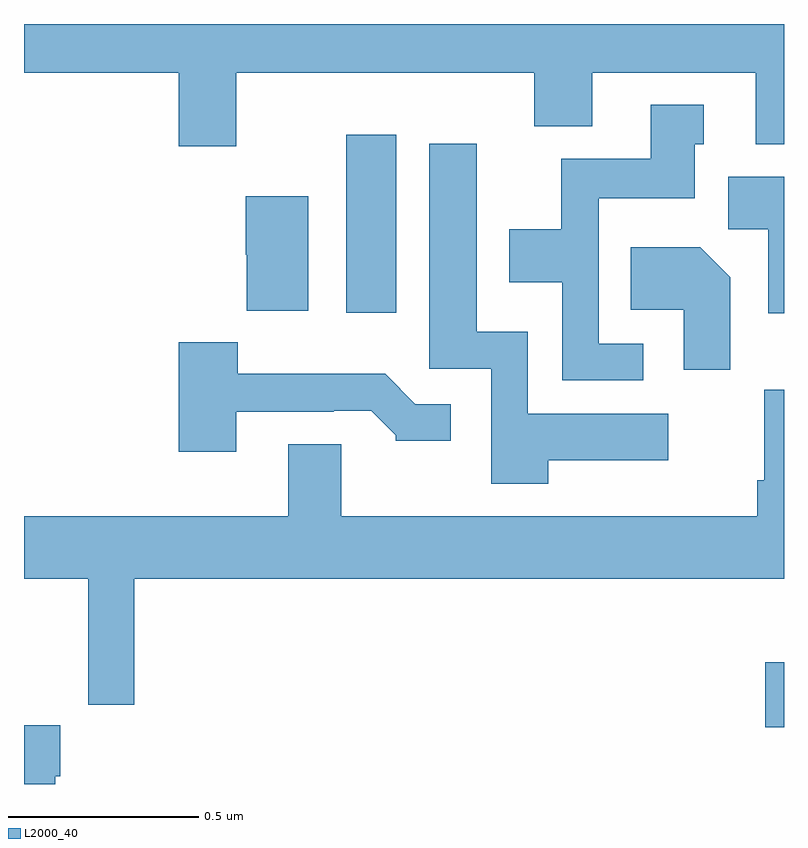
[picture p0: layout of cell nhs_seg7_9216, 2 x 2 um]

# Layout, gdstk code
import gdstk
lib = gdstk.Library(unit=1e-6, precision=1e-09)
def R(c, l, rs):  # rectangles x0, y0, x1, y1
    for r in rs: c.add(gdstk.rectangle(r[:2], r[2:], *l))
def P(c, l, *ps):  # polygons
    for p in ps: c.add(gdstk.Polygon(p, *l))
L2000_40 = (2000, 40)

nhs_seg7_9216 = lib.new_cell('nhs_seg7_9216')
R(nhs_seg7_9216, L2000_40, [(235.95,1076.15,236,1076.32), (234.848,1077.24,234.979,1077.709)])
P(nhs_seg7_9216, L2000_40, [(234.559,1077.872),(235.343,1077.872),(235.343,1077.731),(235.495,1077.731),(235.495,1077.872),(235.925,1077.872),(235.925,1077.683),(236,1077.683),(236,1078),(234,1078),(234,1077.872),(234.407,1077.872),(234.407,1077.678),(234.559,1077.678)],
  [(235.63,1077.159),(235.512,1077.159),(235.512,1077.542),(235.765,1077.542),(235.765,1077.684),(235.789,1077.684),(235.789,1077.787),(235.649,1077.787),(235.649,1077.646),(235.414,1077.646),(235.414,1077.46),(235.277,1077.46),(235.277,1077.32),(235.416,1077.32),(235.416,1077.063),(235.63,1077.063)],
  [(235.379,1076.852),(235.696,1076.852),(235.696,1076.974),(235.326,1076.974),(235.326,1077.19),(235.192,1077.19),(235.192,1077.685),(235.067,1077.685),(235.067,1077.093),(235.23,1077.093),(235.23,1076.79),(235.379,1076.79)],
  [(236,1077.598),(235.853,1077.598),(235.853,1077.46),(235.958,1077.46),(235.958,1077.239),(236,1077.239)],
  [(234.748,1077.547),(234.584,1077.547),(234.584,1077.393),(234.586,1077.393),(234.586,1077.245),(234.748,1077.245)],
  [(235.858,1077.334),(235.78,1077.412),(235.597,1077.412),(235.597,1077.248),(235.736,1077.248),(235.736,1077.09),(235.858,1077.09)],
  [(234.559,1076.979),(234.815,1076.979),(234.815,1076.982),(234.914,1076.982),(234.978,1076.918),(234.978,1076.903),(235.123,1076.903),(235.123,1077),(235.029,1077),(234.951,1077.079),(234.562,1077.079),(234.562,1077.163),(234.407,1077.163),(234.407,1076.874),(234.559,1076.874)],
  [(234.29,1076.54),(236,1076.54),(236,1077.037),(235.948,1077.037),(235.948,1076.8),(235.93,1076.8),(235.93,1076.704),(234.835,1076.704),(234.835,1076.894),(234.695,1076.894),(234.695,1076.704),(234,1076.704),(234,1076.54),(234.169,1076.54),(234.169,1076.208),(234.29,1076.208)],
  [(234.082,1076.02),(234.095,1076.02),(234.095,1076.155),(234,1076.155),(234,1076),(234.082,1076)])

lib.write_gds('nhs_seg7_9216.gds')
